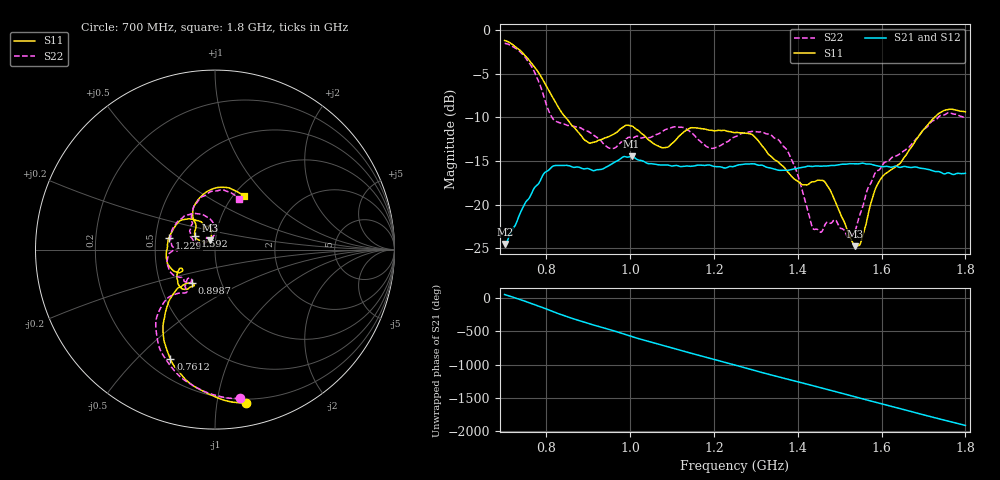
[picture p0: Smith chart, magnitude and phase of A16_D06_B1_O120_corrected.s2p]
! Created with skrf 1.9.0 (http://scikit-rf.org).
# Hz S RI R 50.0
!freq ReS11 ImS11 ReS21 ImS21 ReS12 ImS12 ReS22 ImS22
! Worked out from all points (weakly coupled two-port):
!   1601 points, 700 MHz to 1.8 GHz, reference 50 ohm
!   highest |S21| = -14.47 dB at 1.003 GHz (marker M1); lowest = -24.5 dB at 700.7 MHz (marker M2)
!   lowest |S11| = -24.8 dB at 1.537 GHz (marker M3), VSWR 1.12, Z = 47.3 + j4.93 ohm
!   |S11| at or under -10 dB: 845.6 MHz to 1.726 GHz (880.5 MHz wide, 68.5 % of centre)
!   |S22| runs from -23.8 to -1.5 dB; largest |S21 - S12| = 0.0034
!   S11 on the Smith chart (normalised r, x): 700 MHz: 0.17, -1.21; 761.2 MHz: 0.29, -0.63; 898.7 MHz: 0.72, -0.29; 1.229 GHz: 0.59, +0.09; 1.592 GHz: 0.79, +0.12; 1.8 GHz: 1.12, +0.76
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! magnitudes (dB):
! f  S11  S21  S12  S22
! 700 MHz  -1.2  -24.5  -24.3  -1.5
! 700.7 MHz  -1.2  -24.5  -24.2  -1.5
! 761.2 MHz  -3.6  -19.0  -18.9  -3.9
! 816.2 MHz  -7.8  -15.6  -15.7  -10.2
! 883.6 MHz  -12.1  -15.8  -15.7  -11.3
! 898.7 MHz  -12.8  -15.9  -15.9  -11.6
! 953.7 MHz  -12.1  -15.4  -15.4  -13.6
! 1.003 GHz  -11.0  -14.5  -14.6  -12.4
! 1.067 GHz  -13.3  -15.4  -15.4  -11.9
! 1.145 GHz  -11.2  -15.6  -15.6  -11.7
! 1.229 GHz  -11.6  -15.8  -15.7  -12.9
! 1.25 GHz  -11.7  -15.6  -15.5  -12.2
! 1.357 GHz  -15.3  -16.1  -16.0  -12.7
! 1.394 GHz  -17.2  -15.9  -15.9  -15.8
! 1.434 GHz  -17.4  -15.6  -15.6  -22.5
! 1.469 GHz  -17.7  -15.6  -15.5  -22.0
! 1.537 GHz  -24.8  -15.3  -15.3  -23.0
! 1.551 GHz  -24.2  -15.3  -15.3  -20.8
! 1.592 GHz  -17.5  -15.6  -15.6  -16.1
! 1.617 GHz  -16.2  -15.7  -15.6  -15.0
! 1.735 GHz  -9.6  -16.2  -16.3  -10.0
! 1.8 GHz  -9.4  -16.4  -16.4  -10.0
